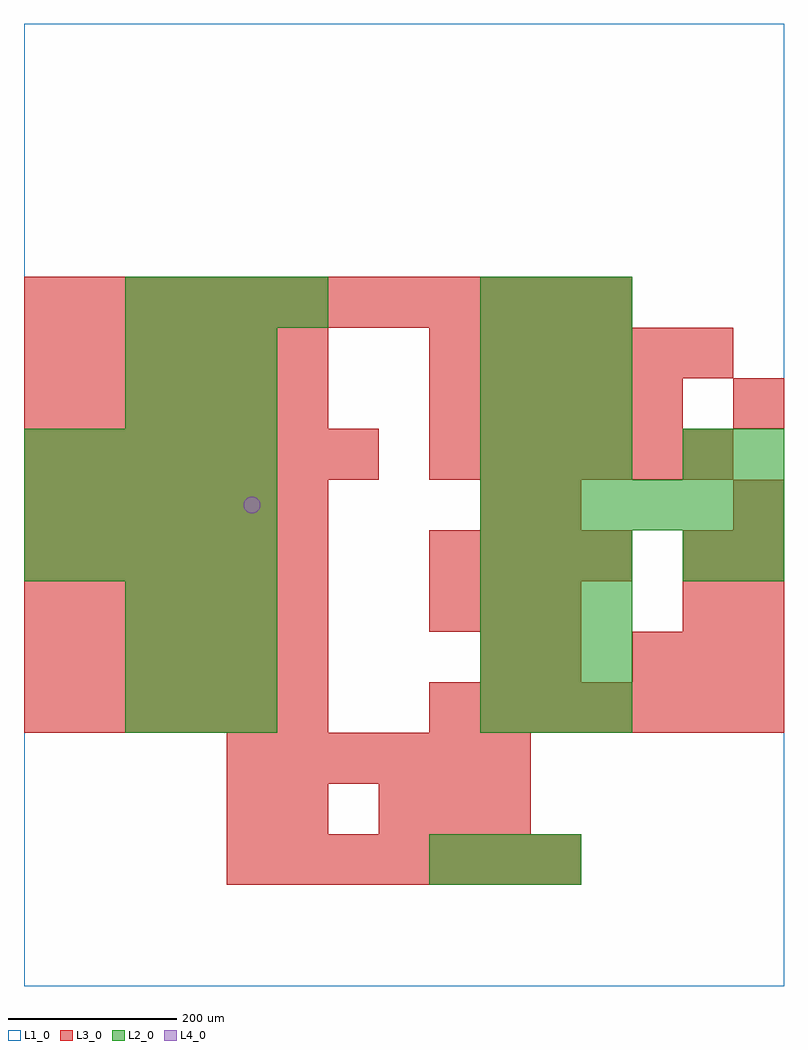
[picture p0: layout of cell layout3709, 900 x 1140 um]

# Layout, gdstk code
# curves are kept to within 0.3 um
import gdstk
lib = gdstk.Library(unit=1e-6, precision=1e-09)
def R(c, l, rs):  # rectangles x0, y0, x1, y1
    for r in rs: c.add(gdstk.rectangle(r[:2], r[2:], *l))
def A(c, l, x, y, w, h, nx, ny, dx, dy):  # array of equal rectangles
    R(c, l, [(x+i*dx, y+j*dy, x+i*dx+w, y+j*dy+h) for i in range(nx) for j in range(ny)])
def P(c, l, *ps):  # polygons
    for p in ps: c.add(gdstk.Polygon(p, *l))
L1_0 = (1, 0)
L2_0 = (2, 0)
L3_0 = (3, 0)
L4_0 = (4, 0)

layout3709 = lib.new_cell('layout3709')
R(layout3709, L1_0, [(0,0,900,1140)])
A(layout3709, L2_0, 480, 120, 60, 60, 3, 1, 60, 0)
A(layout3709, L2_0, 120, 300, 60, 60, 3, 3, 60, 60)
A(layout3709, L2_0, 540, 300, 60, 60, 3, 4, 60, 60)
A(layout3709, L2_0, 0, 480, 60, 60, 5, 3, 60, 60)
A(layout3709, L2_0, 540, 540, 60, 60, 6, 1, 60, 0)
A(layout3709, L2_0, 540, 600, 60, 60, 3, 4, 60, 60)
A(layout3709, L2_0, 120, 660, 60, 60, 3, 2, 60, 60)
A(layout3709, L2_0, 120, 780, 60, 60, 4, 1, 60, 0)
R(layout3709, L2_0, [(780,480,840,540), (840,480,900,540), (780,600,840,660), (840,600,900,660)])
A(layout3709, L3_0, 240, 120, 60, 60, 7, 1, 60, 0)
A(layout3709, L3_0, 420, 180, 60, 60, 3, 1, 60, 0)
A(layout3709, L3_0, 240, 240, 60, 60, 6, 1, 60, 0)
A(layout3709, L3_0, 0, 300, 60, 60, 6, 5, 60, 60)
A(layout3709, L3_0, 480, 300, 60, 60, 7, 1, 60, 0)
A(layout3709, L3_0, 720, 360, 60, 60, 3, 1, 60, 0)
A(layout3709, L3_0, 480, 420, 60, 60, 3, 1, 60, 0)
A(layout3709, L3_0, 840, 420, 60, 60, 1, 3, 0, 60)
A(layout3709, L3_0, 480, 480, 60, 60, 4, 1, 60, 0)
A(layout3709, L3_0, 0, 600, 60, 60, 7, 1, 60, 0)
A(layout3709, L3_0, 480, 600, 60, 60, 6, 2, 60, 120)
A(layout3709, L3_0, 0, 660, 60, 60, 6, 2, 60, 60)
A(layout3709, L3_0, 480, 660, 60, 60, 5, 1, 60, 0)
A(layout3709, L3_0, 0, 780, 60, 60, 12, 1, 60, 0)
R(layout3709, L3_0, [(240,180,300,240), (300,180,360,240), (540,360,600,420), (600,360,660,420), (780,420,840,480), (780,480,840,540), (540,540,600,600), (600,540,660,600), (840,660,900,720)])
P(layout3709, L4_0, [(280,570),(279.239,573.827),(277.071,577.071),(273.827,579.239),(270,580),(266.173,579.239),(262.929,577.071),(260.761,573.827),(260,570),(260.761,566.173),(262.929,562.929),(266.173,560.761),(270,560),(273.827,560.761),(277.071,562.929),(279.239,566.173)])

lib.write_gds('layout3709.gds')
